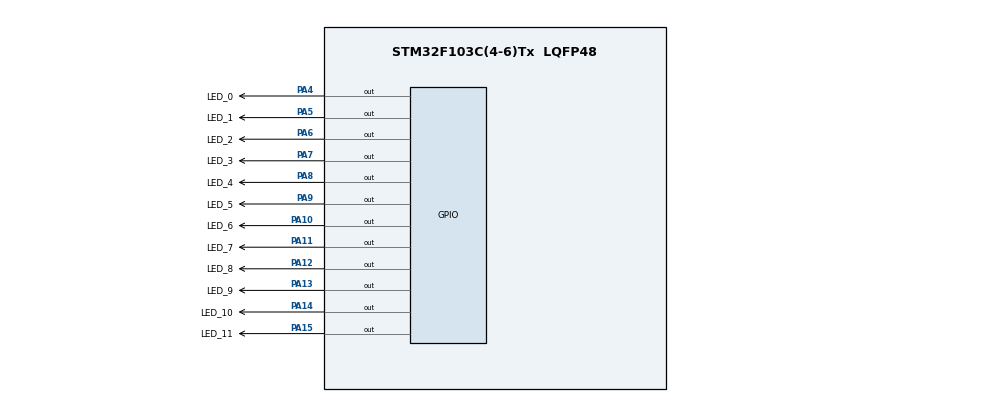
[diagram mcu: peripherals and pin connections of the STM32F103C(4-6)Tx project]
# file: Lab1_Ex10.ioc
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Mcu.Family=STM32F1
Mcu.Name=STM32F103C(4-6)Tx
Mcu.Package=LQFP48
NVIC.PriorityGroup=NVIC_PRIORITYGROUP_4
PA10.GPIO_Label=LED_6
PA10.Signal=GPIO_Output
PA11.GPIO_Label=LED_7
PA11.Signal=GPIO_Output
PA12.GPIO_Label=LED_8
PA12.Signal=GPIO_Output
PA13.GPIO_Label=LED_9
PA13.Signal=GPIO_Output
PA14.GPIO_Label=LED_10
PA14.Signal=GPIO_Output
PA15.GPIO_Label=LED_11
PA15.Signal=GPIO_Output
PA4.GPIO_Label=LED_0
PA4.Signal=GPIO_Output
PA5.GPIO_Label=LED_1
PA5.Signal=GPIO_Output
PA6.GPIO_Label=LED_2
PA6.Signal=GPIO_Output
PA7.GPIO_Label=LED_3
PA7.Signal=GPIO_Output
PA8.GPIO_Label=LED_4
PA8.Signal=GPIO_Output
PA9.GPIO_Label=LED_5
PA9.Signal=GPIO_Output
ProjectManager.HeapSize=0x200
ProjectManager.StackSize=0x400
ProjectManager.TargetToolchain=STM32CubeIDE
RCC.APB1Freq_Value=8000000
RCC.APB2Freq_Value=8000000
VP_SYS_VS_ND.Mode=No_Debug
board=custom

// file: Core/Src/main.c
/* USER CODE BEGIN Header */
/**
  ******************************************************************************
  * @file           : main.c
  * @brief          : Main program body
  ******************************************************************************
  * @attention
  *
  * <h2><center>&copy; Copyright (c) 2022 STMicroelectronics.
  * All rights reserved.</center></h2>
  *
  * This software component is licensed by ST under BSD 3-Clause license,
  * the "License"; You may not use this file except in compliance with the
  * License. You may obtain a copy of the License at:
  *                        opensource.org/licenses/BSD-3-Clause
  *
  ******************************************************************************
  */
/* USER CODE END Header */
#include "main.h"

void SystemClock_Config(void);
static void MX_GPIO_Init(void);

int main(void)
{

  /* MCU Configuration--------------------------------------------------------*/

  /* Reset of all peripherals, Initializes the Flash interface and the Systick. */
  HAL_Init();

  /* Configure the system clock */
  SystemClock_Config();

  /* Initialize all configured peripherals */
  MX_GPIO_Init();

  /* Infinite loop */
  /* USER CODE BEGIN WHILE */

  /* Khoi tao cac bien "hour", "minute", "second" tuong ung la gio, phut, giay tai thoi diem dang xet
     Gia tri ban dau trong source code nay la 0 gio, 0 phut, 0 giay */
  int hour = 0, minute = 0, second = 0;
  while (1)
  {
	  /* USER CODE END WHILE */
      /* USER CODE BEGIN 3 */
	  /* Cu sau moi giay, ta se tat tat ca bong den o trang thai cu (giay truoc) va bat cac bong den o trang thai moi (giay dang xet) */
	  clearAllClock(); /* Tat tat ca bong den o trang thai cu (giay truoc) */

	  setNumberOnClock(hour % 12); /* Bat cac bong den o trang thai moi */
	  setNumberOnClock(minute / 5);
	  setNumberOnClock(second / 5);

	  /* Thay doi cac bien thoi gian chuyen sang trang thai tiep theo (giay tiep theo) */
	  second++;
	   if (second == 60) { /* Neu bien second = 60, thi second se duoc reset ve 0, con minute se cong them 1 */
	     second = 0;
	     minute++;
	   }
	   if (minute == 60) { /* Neu bien minute = 60, thi minute se duoc reset ve 0, con hour se cong them 1 */
	    minute = 0;
	    hour++;
	   }
	   if (hour == 24) { /* Neu hour = 24, thi se duoc reset ve 0 */
	    hour = 0;
	   }
  	  HAL_Delay(1000);
    }
    /* USER CODE END 3 */
  }

void SystemClock_Config(void)
{
  RCC_OscInitTypeDef RCC_OscInitStruct = {0};
  RCC_ClkInitTypeDef RCC_ClkInitStruct = {0};

  /** Initializes the RCC Oscillators according to the specified parameters
  * in the RCC_OscInitTypeDef structure.
  */
  RCC_OscInitStruct.OscillatorType = RCC_OSCILLATORTYPE_HSI;
  RCC_OscInitStruct.HSIState = RCC_HSI_ON;
  RCC_OscInitStruct.HSICalibrationValue = RCC_HSICALIBRATION_DEFAULT;
  RCC_OscInitStruct.PLL.PLLState = RCC_PLL_NONE;
  if (HAL_RCC_OscConfig(&RCC_OscInitStruct) != HAL_OK)
  {
    Error_Handler();
  }
  /** Initializes the CPU, AHB and APB buses clocks
  */
  RCC_ClkInitStruct.ClockType = RCC_CLOCKTYPE_HCLK|RCC_CLOCKTYPE_SYSCLK
                              |RCC_CLOCKTYPE_PCLK1|RCC_CLOCKTYPE_PCLK2;
  RCC_ClkInitStruct.SYSCLKSource = RCC_SYSCLKSOURCE_HSI;
  RCC_ClkInitStruct.AHBCLKDivider = RCC_SYSCLK_DIV1;
  RCC_ClkInitStruct.APB1CLKDivider = RCC_HCLK_DIV1;
  RCC_ClkInitStruct.APB2CLKDivider = RCC_HCLK_DIV1;

  if (HAL_RCC_ClockConfig(&RCC_ClkInitStruct, FLASH_LATENCY_0) != HAL_OK)
  {
    Error_Handler();
  }
}

static void MX_GPIO_Init(void)
{
  GPIO_InitTypeDef GPIO_InitStruct = {0};

  /* GPIO Ports Clock Enable */
  __HAL_RCC_GPIOA_CLK_ENABLE();

  /*Configure GPIO pin Output Level */
  HAL_GPIO_WritePin(GPIOA, LED_0_Pin|LED_1_Pin|LED_2_Pin|LED_3_Pin
                          |LED_4_Pin|LED_5_Pin|LED_6_Pin|LED_7_Pin
                          |LED_8_Pin|LED_9_Pin|LED_10_Pin|LED_11_Pin, GPIO_PIN_RESET);

  /*Configure GPIO pins : LED_0_Pin LED_1_Pin LED_2_Pin LED_3_Pin
                           LED_4_Pin LED_5_Pin LED_6_Pin LED_7_Pin
                           LED_8_Pin LED_9_Pin LED_10_Pin LED_11_Pin */
  GPIO_InitStruct.Pin = LED_0_Pin|LED_1_Pin|LED_2_Pin|LED_3_Pin
                          |LED_4_Pin|LED_5_Pin|LED_6_Pin|LED_7_Pin
                          |LED_8_Pin|LED_9_Pin|LED_10_Pin|LED_11_Pin;
  GPIO_InitStruct.Mode = GPIO_MODE_OUTPUT_PP;
  GPIO_InitStruct.Pull = GPIO_NOPULL;
  GPIO_InitStruct.Speed = GPIO_SPEED_FREQ_LOW;
  HAL_GPIO_Init(GPIOA, &GPIO_InitStruct);

}

/* USER CODE BEGIN 4 */
void clearAllClock() { /* Tat tat ca 12 bong den */
	HAL_GPIO_WritePin(LED_0_GPIO_Port , LED_0_Pin , GPIO_PIN_SET);
	HAL_GPIO_WritePin(LED_1_GPIO_Port , LED_1_Pin , GPIO_PIN_SET);
	HAL_GPIO_WritePin(LED_2_GPIO_Port , LED_2_Pin , GPIO_PIN_SET);
	HAL_GPIO_WritePin(LED_3_GPIO_Port , LED_3_Pin , GPIO_PIN_SET);
	HAL_GPIO_WritePin(LED_4_GPIO_Port , LED_4_Pin , GPIO_PIN_SET);
	HAL_GPIO_WritePin(LED_5_GPIO_Port , LED_5_Pin , GPIO_PIN_SET);
	HAL_GPIO_WritePin(LED_6_GPIO_Port , LED_6_Pin , GPIO_PIN_SET);
	HAL_GPIO_WritePin(LED_7_GPIO_Port , LED_7_Pin , GPIO_PIN_SET);
	HAL_GPIO_WritePin(LED_8_GPIO_Port , LED_8_Pin , GPIO_PIN_SET);
	HAL_GPIO_WritePin(LED_9_GPIO_Port , LED_9_Pin , GPIO_PIN_SET);
	HAL_GPIO_WritePin(LED_10_GPIO_Port , LED_10_Pin , GPIO_PIN_SET);
	HAL_GPIO_WritePin(LED_11_GPIO_Port , LED_11_Pin , GPIO_PIN_SET);
}

/* Ham setNumberOnClock dung de bat 1 den sang theo input cho truoc */
void setNumberOnClock(int num) {
	switch(num) { /* Dung lenh switch-case de xet cac truong hop co the xay ra cua LED thu "num" duoc sang len (0 <= num <= 11) */
	case 0:
		HAL_GPIO_WritePin(LED_0_GPIO_Port , LED_0_Pin , GPIO_PIN_RESET);
		break;
	case 1:
		HAL_GPIO_WritePin(LED_1_GPIO_Port , LED_1_Pin , GPIO_PIN_RESET);
		break;
	case 2:
		HAL_GPIO_WritePin(LED_2_GPIO_Port , LED_2_Pin , GPIO_PIN_RESET);
		break;
	case 3:
		HAL_GPIO_WritePin(LED_3_GPIO_Port , LED_3_Pin , GPIO_PIN_RESET);
		break;
	case 4:
		HAL_GPIO_WritePin(LED_4_GPIO_Port , LED_4_Pin , GPIO_PIN_RESET);
		break;
	case 5:
		HAL_GPIO_WritePin(LED_5_GPIO_Port , LED_5_Pin , GPIO_PIN_RESET);
		break;
	case 6:
		HAL_GPIO_WritePin(LED_6_GPIO_Port , LED_6_Pin , GPIO_PIN_RESET);
		break;
	case 7:
		HAL_GPIO_WritePin(LED_7_GPIO_Port , LED_7_Pin , GPIO_PIN_RESET);
		break;
	case 8:
		HAL_GPIO_WritePin(LED_8_GPIO_Port , LED_8_Pin , GPIO_PIN_RESET);
		break;
	case 9:
		HAL_GPIO_WritePin(LED_9_GPIO_Port , LED_9_Pin , GPIO_PIN_RESET);
		break;
	case 10:
		HAL_GPIO_WritePin(LED_10_GPIO_Port , LED_10_Pin , GPIO_PIN_RESET);
		break;
	case 11:
		HAL_GPIO_WritePin(LED_11_GPIO_Port , LED_11_Pin , GPIO_PIN_RESET);
		break;
	default:
		break;
	}
}

/* Ham clearNumberOnClock dung de tat 1 den sang theo input cho truoc */
void clearNumberOnClock(int num) {
	switch(num) { /* Dung lenh switch-case de xet cac truong hop co the xay ra cua LED thu "num" se tat di (0 <= num <= 11) */
		case 0:
			HAL_GPIO_WritePin(LED_0_GPIO_Port , LED_0_Pin , GPIO_PIN_SET);
			break;
		case 1:
			HAL_GPIO_WritePin(LED_1_GPIO_Port , LED_1_Pin , GPIO_PIN_SET);
			break;
		case 2:
			HAL_GPIO_WritePin(LED_2_GPIO_Port , LED_2_Pin , GPIO_PIN_SET);
			break;
		case 3:
			HAL_GPIO_WritePin(LED_3_GPIO_Port , LED_3_Pin , GPIO_PIN_SET);
			break;
		case 4:
			HAL_GPIO_WritePin(LED_4_GPIO_Port , LED_4_Pin , GPIO_PIN_SET);
			break;
		case 5:
			HAL_GPIO_WritePin(LED_5_GPIO_Port , LED_5_Pin , GPIO_PIN_SET);
			break;
		case 6:
			HAL_GPIO_WritePin(LED_6_GPIO_Port , LED_6_Pin , GPIO_PIN_SET);
			break;
		case 7:
			HAL_GPIO_WritePin(LED_7_GPIO_Port , LED_7_Pin , GPIO_PIN_SET);
			break;
		case 8:
			HAL_GPIO_WritePin(LED_8_GPIO_Port , LED_8_Pin , GPIO_PIN_SET);
			break;
		case 9:
			HAL_GPIO_WritePin(LED_9_GPIO_Port , LED_9_Pin , GPIO_PIN_SET);
			break;
		case 10:
			HAL_GPIO_WritePin(LED_10_GPIO_Port , LED_10_Pin , GPIO_PIN_SET);
			break;
		case 11:
			HAL_GPIO_WritePin(LED_11_GPIO_Port , LED_11_Pin , GPIO_PIN_SET);
			break;
		default:
			break;
		}
}
/* USER CODE END 4 */

void Error_Handler(void)
{
  __disable_irq();
  while (1)
  {
  }
}

/************************ (C) COPYRIGHT STMicroelectronics *****END OF FILE****/
